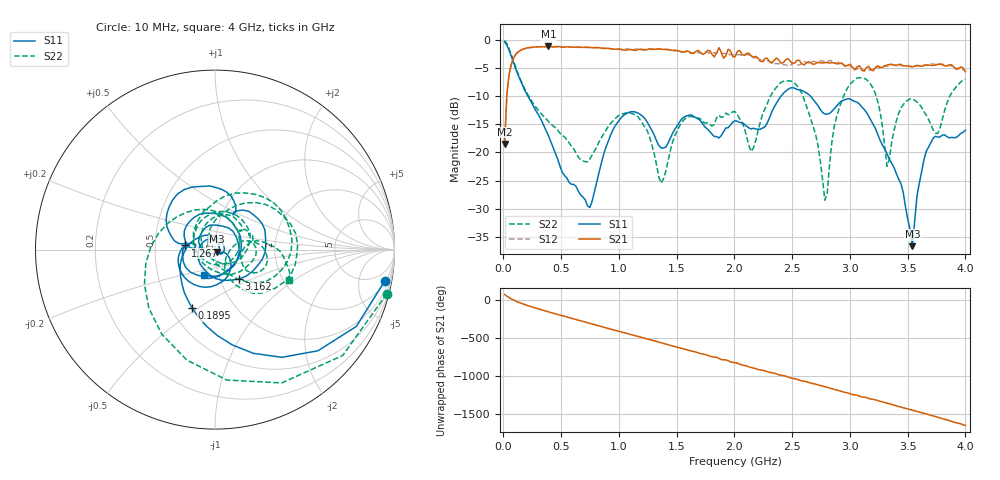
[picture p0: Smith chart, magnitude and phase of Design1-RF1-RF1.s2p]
! 9/28/2016 12:57:31 PM
! C:\USERS\ANRITSUUSER\DESKTOP\SWITCHES\DESIGN1-RF1-RF1.S2P
! CHANNEL.1
! TR.MEASUREMENT
! CORRECTED.DATA
# GHZ S RI R 50.0
! FREQ.GHZ  S11RE  S11IM  S21RE  S21IM  S12RE  S12IM  S22RE  S22IM
!; PortSelection: Port_12
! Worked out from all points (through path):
!   201 points, 10 MHz to 4 GHz, reference 50 ohm
!   highest |S21| = -1.17 dB at 389.1 MHz (marker M1); lowest = -18.5 dB at 10 MHz (marker M2)
!   group delay of S21, straight-line fit = 1.16 ns
!   lowest |S11| = -36.7 dB at 3.541 GHz (marker M3), VSWR 1.03, Z = 50.8 - j1.21 ohm
!   |S11| at or under -10 dB: 211.4 MHz to 2.403 GHz (2.191 GHz wide, 168 % of centre); 2.659 GHz to end of sweep
!   |S22| runs from -28.5 to -0.1 dB; largest |S21 - S12| = 0.1
!   S11 on the Smith chart (normalised r, x): 10 MHz: 2, -10; 189.6 MHz: 0.64, -0.47; 1.267 GHz: 0.71, +0.03; 3.162 GHz: 1.22, -0.42; 4 GHz: 0.85, -0.25
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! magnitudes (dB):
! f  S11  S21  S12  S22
! 10 MHz  -0.3  -18.5  -18.6  -0.1
! 49.9 MHz  -1.9  -6.0  -6.0  -1.6
! 189.6 MHz  -9.1  -1.5  -1.6  -8.9
! 389.1 MHz  -17.0  -1.2  -1.2  -14.5
! 688.3 MHz  -27.9  -1.3  -1.3  -21.5
! 748.1 MHz  -29.8  -1.3  -1.4  -21.2
! 1.027 GHz  -13.6  -1.7  -1.7  -13.2
! 1.267 GHz  -15.4  -1.6  -1.7  -17.4
! 1.347 GHz  -18.8  -1.6  -1.7  -24.5
! 1.566 GHz  -13.7  -2.1  -2.1  -14.1
! 2.005 GHz  -14.4  -3.0  -2.7  -12.8
! 2.145 GHz  -15.8  -2.8  -2.9  -19.8
! 2.484 GHz  -8.5  -3.8  -4.5  -7.3
! 2.683 GHz  -10.6  -4.4  -3.8  -15.5
! 2.783 GHz  -13.2  -4.0  -3.9  -28.5
! 2.923 GHz  -10.9  -4.1  -3.9  -11.2
! 3.162 GHz  -13.5  -4.7  -5.3  -7.4
! 3.342 GHz  -21.2  -4.4  -4.6  -21.2
! 3.541 GHz  -36.7  -4.8  -4.7  -10.5
! 3.661 GHz  -19.8  -4.4  -4.5  -13.4
! 3.761 GHz  -17.3  -4.4  -4.3  -16.6
! 4 GHz  -16.1  -5.7  -5.5  -7.0
